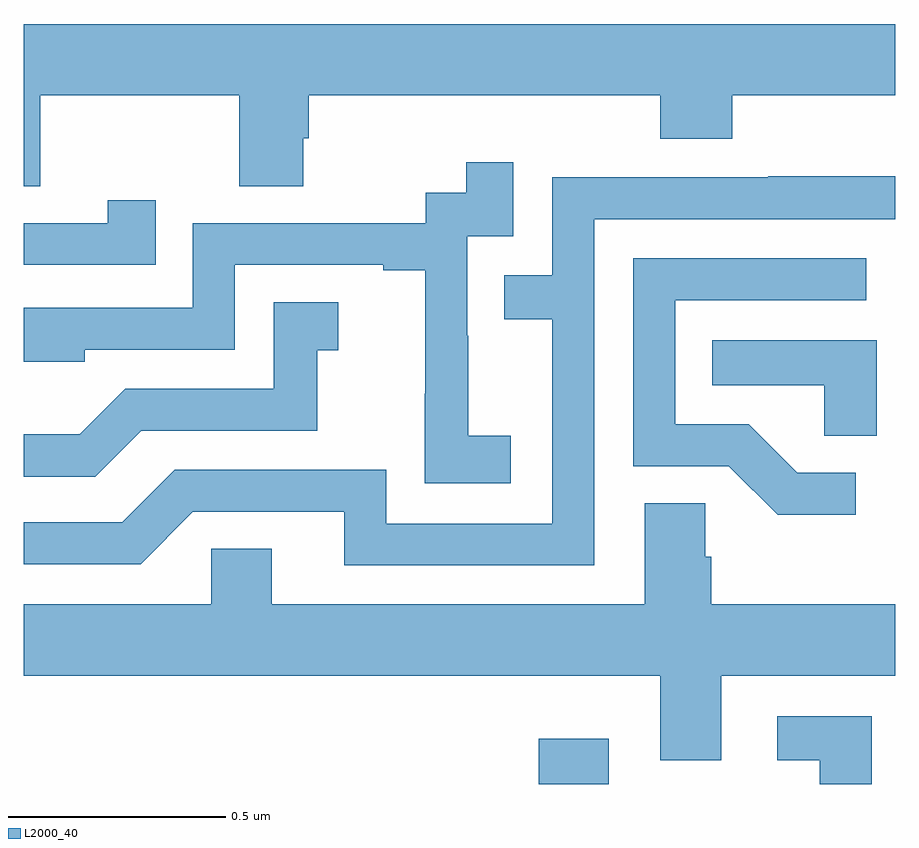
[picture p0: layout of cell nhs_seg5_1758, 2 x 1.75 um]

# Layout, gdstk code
import gdstk
lib = gdstk.Library(unit=1e-6, precision=1e-09)
def R(c, l, rs):  # rectangles x0, y0, x1, y1
    for r in rs: c.add(gdstk.rectangle(r[:2], r[2:], *l))
def P(c, l, *ps):  # polygons
    for p in ps: c.add(gdstk.Polygon(p, *l))
L2000_40 = (2000, 40)

nhs_seg5_1758 = lib.new_cell('nhs_seg5_1758')
R(nhs_seg5_1758, L2000_40, [(135.182,901.799,135.343,901.903)])
P(nhs_seg5_1758, L2000_40, [(134.037,903.38),(134.494,903.38),(134.494,903.172),(134.641,903.172),(134.641,903.282),(134.654,903.282),(134.654,903.38),(135.461,903.38),(135.461,903.281),(135.626,903.281),(135.626,903.38),(136,903.38),(136,903.544),(134,903.544),(134,903.172),(134.037,903.172)],
  [(135.118,902.599),(135.02,902.599),(135.02,902.828),(135.018,902.828),(135.018,903.057),(135.123,903.057),(135.123,903.226),(135.015,903.226),(135.015,903.156),(134.922,903.156),(134.922,903.087),(134.388,903.087),(134.388,902.892),(134,902.892),(134,902.769),(134.139,902.769),(134.139,902.796),(134.484,902.796),(134.484,902.991),(134.825,902.991),(134.825,902.979),(134.921,902.979),(134.921,902.695),(134.92,902.695),(134.92,902.489),(135.118,902.489)],
  [(135.309,903.096),(136,903.096),(136,903.194),(135.709,903.194),(135.709,903.192),(135.213,903.192),(135.213,902.967),(135.103,902.967),(135.103,902.866),(135.213,902.866),(135.213,902.397),(134.832,902.397),(134.832,902.52),(134.346,902.52),(134.226,902.4),(134,902.4),(134,902.304),(134.268,902.304),(134.388,902.424),(134.735,902.424),(134.735,902.301),(135.309,902.301)],
  [(134.303,903.139),(134.192,903.139),(134.192,903.087),(134,903.087),(134,902.991),(134.303,902.991)],
  [(135.91,902.514),(135.775,902.514),(135.664,902.625),(135.495,902.625),(135.495,902.91),(135.934,902.91),(135.934,903.006),(135.399,903.006),(135.399,902.529),(135.618,902.529),(135.731,902.417),(135.91,902.417)],
  [(134.269,902.61),(134.673,902.61),(134.673,902.795),(134.722,902.795),(134.722,902.905),(134.574,902.905),(134.574,902.706),(134.232,902.706),(134.128,902.602),(134,902.602),(134,902.505),(134.164,902.505)],
  [(135.958,902.818),(135.58,902.818),(135.58,902.714),(135.837,902.714),(135.837,902.599),(135.958,902.599)],
  [(135.601,902.048),(136,902.048),(136,902.212),(135.578,902.212),(135.578,902.321),(135.564,902.321),(135.564,902.444),(135.425,902.444),(135.425,902.212),(134.569,902.212),(134.569,902.339),(134.43,902.339),(134.43,902.212),(134,902.212),(134,902.048),(135.461,902.048),(135.461,901.854),(135.601,901.854)],
  [(135.946,901.954),(135.729,901.954),(135.729,901.853),(135.827,901.853),(135.827,901.799),(135.946,901.799)])

lib.write_gds('nhs_seg5_1758.gds')
